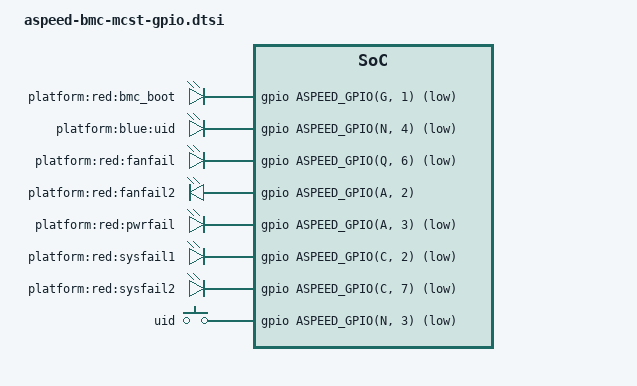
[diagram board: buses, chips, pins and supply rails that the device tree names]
// SPDX-License-Identifier: GPL-2.0+

/ {
	leds {
		compatible = "gpio-leds";
		bmc_boot {
			label = "platform:red:bmc_boot";
			gpios = <&gpio ASPEED_GPIO(G, 1) GPIO_ACTIVE_LOW>;
			linux,default-trigger = "timer";
		};
		uid {
			label = "platform:blue:uid";
			gpios = <&gpio ASPEED_GPIO(N, 4) GPIO_ACTIVE_LOW>;
			linux,default-trigger = "none";
		};
		fanfail {
			label = "platform:red:fanfail";
			gpios = <&gpio ASPEED_GPIO(Q, 6) GPIO_ACTIVE_LOW>;
			linux,default-trigger = "none";
		};
		fanfail2 {
			label = "platform:red:fanfail2";
			gpios = <&gpio ASPEED_GPIO(A, 2) GPIO_ACTIVE_HIGH>;
			linux,default-trigger = "none";
		};
		pwrfail {
			label = "platform:red:pwrfail";
			gpios = <&gpio ASPEED_GPIO(A, 3) GPIO_ACTIVE_LOW>;
			linux,default-trigger = "none";
		};
		sysfail1 {
			label = "platform:red:sysfail1";
			gpios = <&gpio ASPEED_GPIO(C, 2) GPIO_ACTIVE_LOW>;
			linux,default-trigger = "none";
		};
		sysfail2 {
			label = "platform:red:sysfail2";
			gpios = <&gpio ASPEED_GPIO(C, 7) GPIO_ACTIVE_LOW>;
			linux,default-trigger = "none";
		};
	};

	gpio-keys {
		compatible = "gpio-keys";
		uid {
			label = "uid";
			linux,code = <148>; /* KEY_PROG1 */
			gpios = <&gpio ASPEED_GPIO(N, 3) GPIO_ACTIVE_LOW>;
		};
	};
};
